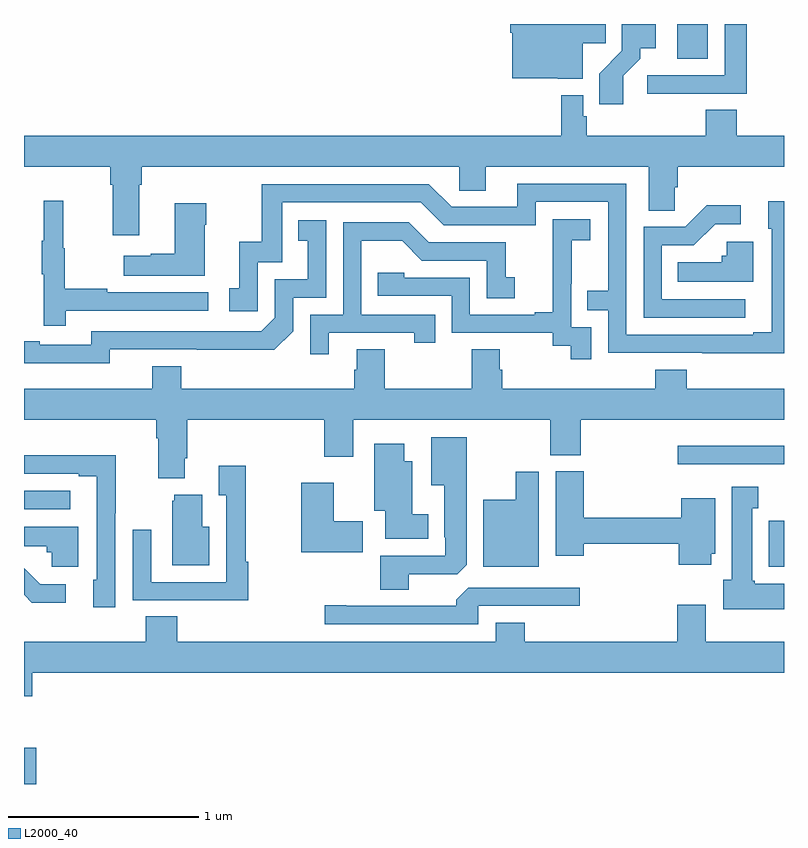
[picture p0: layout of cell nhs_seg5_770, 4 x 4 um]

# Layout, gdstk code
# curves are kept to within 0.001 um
import gdstk
lib = gdstk.Library(unit=1e-6, precision=1e-09)
def R(c, l, rs):  # rectangles x0, y0, x1, y1
    for r in rs: c.add(gdstk.rectangle(r[:2], r[2:], *l))
def P(c, l, *ps):  # polygons
    for p in ps: c.add(gdstk.Polygon(p, *l))
L2000_40 = (2000, 40)

nhs_seg5_770 = lib.new_cell('nhs_seg5_770')
R(nhs_seg5_770, L2000_40, [(159,898.799,159.064,898.99), (162.92,899.942,163,900.184), (159,900.246,159.244,900.342), (162.441,900.483,163,900.58), (162.437,902.616,162.598,902.799)])
P(nhs_seg5_770, L2000_40, [(162.503,902.433),(162.803,902.433),(162.803,902.799),(162.687,902.799),(162.687,902.529),(162.279,902.529),(162.279,902.431),(162.503,902.431)],
  [(162.154,902.527),(162.244,902.617),(162.244,902.672),(162.325,902.672),(162.325,902.799),(162.147,902.799),(162.147,902.657),(162.028,902.538),(162.028,902.376),(162.154,902.376)],
  [(161.941,902.698),(162.062,902.698),(162.062,902.799),(161.558,902.799),(161.558,902.753),(161.57,902.753),(161.57,902.513),(161.808,902.513),(161.808,902.51),(161.941,902.51)],
  [(159.607,901.952),(159.62,901.952),(159.62,902.048),(161.292,902.048),(161.292,901.921),(161.431,901.921),(161.431,902.048),(162.287,902.048),(162.287,901.816),(162.426,901.816),(162.426,901.939),(162.44,901.939),(162.44,902.048),(163,902.048),(163,902.212),(162.752,902.212),(162.752,902.348),(162.587,902.348),(162.587,902.212),(161.963,902.212),(161.963,902.313),(161.943,902.313),(161.943,902.425),(161.827,902.425),(161.827,902.212),(159,902.212),(159,902.048),(159.455,902.048),(159.455,901.952),(159.467,901.952),(159.467,901.686),(159.607,901.686)],
  [(163,901.867),(162.917,901.867),(162.917,901.722),(162.936,901.722),(162.936,901.177),(162.839,901.177),(162.839,901.164),(162.171,901.164),(162.171,901.959),(161.597,901.959),(161.597,901.836),(161.25,901.836),(161.13,901.956),(160.251,901.956),(160.251,901.654),(160.133,901.654),(160.133,901.407),(160.08,901.407),(160.08,901.287),(160.23,901.287),(160.23,901.545),(160.359,901.545),(160.359,901.86),(161.088,901.86),(161.208,901.74),(161.694,901.74),(161.694,901.863),(162.075,901.863),(162.075,901.394),(161.965,901.394),(161.965,901.293),(162.075,901.293),(162.075,901.068),(163,901.067)],
  [(159.221,901.29),(159.97,901.29),(159.97,901.386),(159.437,901.386),(159.437,901.406),(159.214,901.406),(159.214,901.62),(159.206,901.62),(159.206,901.87),(159.104,901.87),(159.104,901.657),(159.093,901.657),(159.093,901.483),(159.104,901.483),(159.104,901.212),(159.221,901.212)],
  [(159.952,901.742),(159.96,901.742),(159.96,901.855),(159.794,901.855),(159.794,901.589),(159.668,901.589),(159.668,901.579),(159.525,901.579),(159.525,901.475),(159.952,901.475)],
  [(162.796,901.35),(162.357,901.35),(162.357,901.635),(162.526,901.635),(162.637,901.746),(162.772,901.746),(162.772,901.844),(162.593,901.844),(162.48,901.731),(162.261,901.731),(162.261,901.254),(162.796,901.254)],
  [(161.985,901.203),(161.88,901.203),(161.88,901.433),(161.882,901.433),(161.882,901.661),(161.98,901.661),(161.98,901.771),(161.782,901.771),(161.782,901.565),(161.783,901.565),(161.783,901.282),(161.687,901.282),(161.687,901.269),(161.346,901.269),(161.346,901.464),(161.001,901.464),(161.001,901.491),(160.861,901.491),(160.861,901.368),(161.25,901.368),(161.25,901.173),(161.784,901.173),(161.784,901.105),(161.877,901.105),(161.877,901.035),(161.985,901.035)],
  [(159.45,901.086),(160.318,901.085),(160.416,901.182),(160.416,901.359),(160.59,901.359),(160.59,901.765),(160.444,901.765),(160.444,901.659),(160.493,901.659),(160.493,901.455),(160.32,901.455),(160.32,901.254),(160.248,901.182),(159.354,901.182),(159.354,901.11),(159.082,901.11),(159.082,901.13),(159,901.13),(159,901.014),(159.45,901.013)],
  [(160.603,901.173),(161.054,901.173),(161.054,901.122),(161.165,901.122),(161.165,901.269),(160.776,901.269),(160.776,901.658),(160.99,901.658),(161.094,901.554),(161.436,901.554),(161.436,901.356),(161.584,901.356),(161.584,901.465),(161.535,901.465),(161.535,901.65),(161.131,901.65),(161.026,901.755),(160.68,901.755),(160.68,901.269),(160.506,901.269),(160.506,901.062),(160.603,901.062)],
  [(162.838,901.654),(162.699,901.654),(162.699,901.578),(162.673,901.578),(162.673,901.546),(162.442,901.546),(162.442,901.442),(162.838,901.442)],
  [(159.847,900.514),(159.86,900.514),(159.86,900.716),(160.58,900.716),(160.58,900.522),(160.732,900.522),(160.732,900.716),(161.77,900.716),(161.77,900.529),(161.93,900.529),(161.93,900.716),(163,900.716),(163,900.88),(162.488,900.88),(162.488,900.979),(162.323,900.979),(162.323,900.88),(161.516,900.88),(161.516,900.978),(161.503,900.978),(161.503,901.088),(161.356,901.088),(161.356,900.88),(160.899,900.88),(160.899,901.088),(160.751,901.088),(160.751,900.978),(160.739,900.978),(160.739,900.88),(159.827,900.88),(159.827,900.997),(159.674,900.997),(159.674,900.88),(159,900.88),(159,900.716),(159.695,900.716),(159.695,900.62),(159.707,900.62),(159.707,900.407),(159.847,900.407)],
  [(161.026,899.904),(161.28,899.904),(161.329,899.953),(161.329,900.625),(161.144,900.625),(161.144,900.371),(161.213,900.371),(161.213,900.097),(161.217,900.097),(161.217,900),(160.874,900),(160.874,899.821),(161.026,899.821)],
  [(161.128,900.22),(161.044,900.22),(161.044,900.499),(161.002,900.499),(161.002,900.589),(160.844,900.589),(160.844,900.236),(160.901,900.236),(160.901,900.089),(161.128,900.089)],
  [(159.48,900.223),(159.483,900.223),(159.483,900.53),(159.019,900.53),(159.019,900.528),(159,900.528),(159,900.432),(159.287,900.432),(159.287,900.42),(159.384,900.42),(159.384,899.874),(159.365,899.874),(159.365,899.73),(159.48,899.73)],
  [(160.181,899.969),(160.166,899.969),(160.166,900.475),(160.025,900.475),(160.025,900.319),(160.065,900.319),(160.065,899.862),(159.669,899.862),(159.669,900.136),(159.573,900.136),(159.573,899.766),(159.889,899.766),(159.889,899.765),(160.181,899.765)],
  [(162.616,900.012),(162.637,900.012),(162.637,900.304),(162.458,900.304),(162.458,900.2),(161.945,900.2),(161.945,900.444),(161.798,900.444),(161.798,900),(161.945,900),(161.945,900.064),(162.446,900.064),(162.446,899.952),(162.616,899.952)],
  [(161.71,900.442),(161.588,900.442),(161.588,900.295),(161.417,900.295),(161.417,899.942),(161.71,899.942)],
  [(160.783,900.183),(160.63,900.183),(160.63,900.385),(160.46,900.385),(160.46,900.02),(160.783,900.02)],
  [(163,899.854),(162.846,899.854),(162.846,899.868),(162.832,899.868),(162.832,900.251),(162.865,900.251),(162.865,900.364),(162.725,900.364),(162.725,899.874),(162.68,899.874),(162.68,899.72),(163,899.72)],
  [(159.976,900.154),(159.937,900.154),(159.937,900.322),(159.791,900.322),(159.791,900.291),(159.779,900.291),(159.779,899.951),(159.976,899.951)],
  [(159.286,900.154),(159,900.154),(159,900.05),(159.121,900.05),(159.121,900.018),(159.147,900.018),(159.147,899.942),(159.286,899.942)],
  [(159.22,899.85),(159.085,899.85),(159,899.935),(159,899.794),(159.041,899.753),(159.22,899.753)],
  [(161.391,899.736),(161.926,899.736),(161.926,899.832),(161.337,899.832),(161.276,899.77),(161.276,899.736),(160.696,899.736),(160.696,899.741),(160.584,899.741),(160.584,899.64),(161.391,899.64)],
  [(163,899.548),(162.589,899.548),(162.589,899.743),(162.437,899.743),(162.437,899.548),(161.636,899.548),(161.636,899.647),(161.483,899.647),(161.483,899.548),(159.806,899.548),(159.806,899.681),(159.641,899.681),(159.641,899.548),(159,899.548),(159,899.26),(159.044,899.26),(159.044,899.384),(163,899.384)])

lib.write_gds('nhs_seg5_770.gds')
